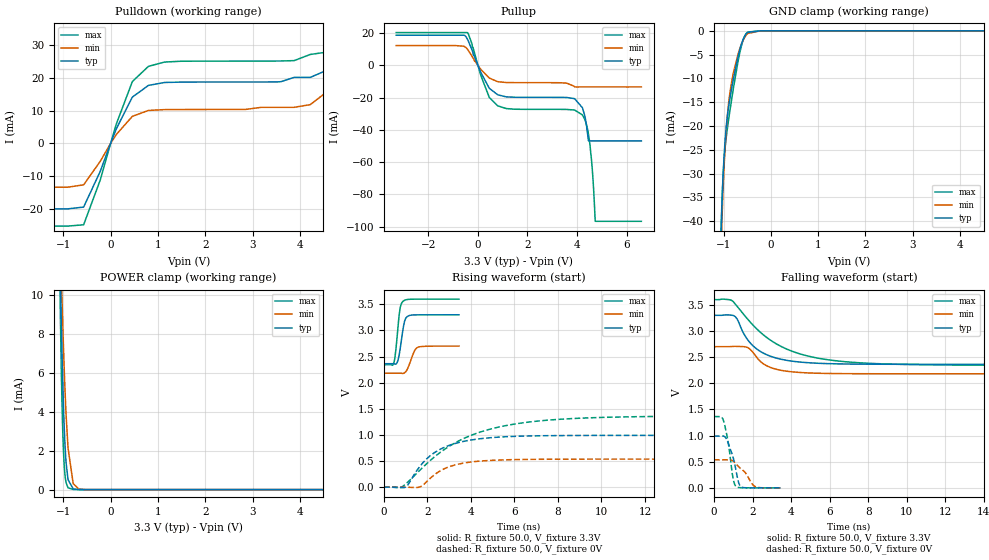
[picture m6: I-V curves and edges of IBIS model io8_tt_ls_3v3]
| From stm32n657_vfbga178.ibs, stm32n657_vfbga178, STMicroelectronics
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[Model]   io8_tt_ls_3v3
Model_type I/O
Polarity   Non-Inverting
Enable   Active-Low
| CAP_THRESHOLD on pad IOTT is "UDTCAPC" :
| Rising=30.0% of vddiov33m   Falling=70.0% of vddiov33m
| C_comp min and max val. don't necessarily correlate with the min and max pvt
| but are the smallest and greatest pad capacitance found.
| var   typ   min   max
C_comp   1.01863pF  1.01060pF  1.02128pF
|C_comp_pullup   495.66500fF  479.36000fF  510.70500fF
|C_comp_pulldown   522.96000fF  531.23929fF  510.57500fF
Vinl = 1.35V
Vinh = 1.8V
Vmeas = 1.65V   | Reference voltage for timing measurements
Cref  = 50.0pF   | Timing specification test load capacitance value
Rref  = 1.0MOhm   | Timing specification test load resistance value
Vref  = 1.815V   | Timing specification test load voltage
[Model Spec]
| TIME_THRESHOLD on pin ZIV08M is "CMOS" :
| Rising=50.0% of vddv08m   Falling=50.0% of vddv08m
Vinl 1.08570V 868.70000mV 1.21270V
Vinh 1.55630V 1.26230V 1.70930V
| variable   typ   min   max
[Temperature Range] 25.0 125.0 -40.0
| variable   typ   min   max
[Voltage Range] 3.3V 2.7V 3.6V
| variable   typ   min   max
[POWER Clamp Reference] 3.3V 2.7V 3.6V
| variable   typ   min   max
[GND Clamp Reference] 0V 0V 0V
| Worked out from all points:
|   slope of the pulldown table from 0 to 0.495 V, typ, clamps not added: 34.1 ohm
|   slope of the pullup table from 0 to 0.495 V, typ, clamps not added: 33.8 ohm
|   GND clamp passes 1 mA (typ) near -0.55 V on its own axis
|   POWER clamp passes 1 mA (typ) near -0.92 V on its own axis
|   rising waveform, R_fixture 50.0, V_fixture 3.3V: 20-80 % time 208ps typ, 287ps min, 179ps max; typ from 2.36 V to 3.3 V
|   falling waveform, R_fixture 50.0, V_fixture 3.3V: 20-80 % time 1.37ns typ, 1.06ns min, 2.71ns max; typ from 3.3 V to 2.36 V
|   rising waveform, R_fixture 50.0, V_fixture 0V: 20-80 % time 1.63ns typ, 1.34ns min, 3.19ns max; typ from 0 V to 0.99 V
|   falling waveform, R_fixture 50.0, V_fixture 0V: 20-80 % time 418ps typ, 701ps min, 329ps max; typ from 0.991 V to 0 V
[POWER Clamp]
-3.3V     1.353A     318.4mA    2.015A
-1.07V    12.07mA    13.62mA    10.38mA
-1.06V    10.79mA    12.68mA    8.745mA
-1.05V    9.571mA    11.76mA    7.253mA
-1.03V    7.341mA    9.999mA    4.748mA
-1V       4.588mA    7.595mA    2.215mA
-980mV    3.183mA    6.171mA    1.238mA
-950mV    1.704mA    4.337mA    481.8uA
-900mV    515.5uA    2.141mA    93.34uA
-790mV    29.45uA    301.7uA    4.884uA
-670mV    1.871uA    28.97uA    2.19uA
6.6V      0A         0A         0A
[GND Clamp]
-3.3V     -3.772A    -3.743A    -3.788A
-1.05V    -42.34mA   -45.44mA   -41.2mA
-1.04V    -38.9mA    -42mA      -37.88mA
-1.03V    -35.84mA   -38.88mA   -35.06mA
-1V       -28.57mA   -31.07mA   -28.88mA
-970mV    -23.48mA   -25.09mA   -24.97mA
-920mV    -18.07mA   -17.99mA   -20.63mA
-860mV    -13.91mA   -12.68mA   -16.46mA
-780mV    -9.536mA   -8.318mA   -11.38mA
-650mV    -3.744mA   -3.567mA   -4.327mA
-490mV    -324.2uA   -555.2uA   -259.7uA
6.6V      214nA      4.276uA    223.3nA
| variable   typ   min   max
[Pullup Reference] 3.3V 2.7V 3.6V
| variable   typ   min   max
[Pulldown Reference] 0V 0V 0V
[Pullup]
-3.3V     18.7mA     12.27mA    20.34mA
-430mV    16.42mA    10.12mA    20.31mA
460mV     -14.22mA   -7.865mA   -19.9mA
800mV     -18.26mA   -10.12mA   -25.1mA
3.88V     -20.57mA   -12.91mA   -27.66mA
4.22V     -26.27mA   -13.36mA   -30.72mA
4.35V     -33.99mA   -13.36mA   -34.99mA
4.46V     -46.57mA   -13.36mA   -42.29mA
4.52V     -46.82mA   -13.36mA   -48.77mA
4.63V     -46.82mA   -13.36mA   -66.94mA
4.74V     -46.82mA   -13.36mA   -96.67mA
6.6V      -46.82mA   -13.36mA   -96.67mA
[Pulldown]
-3.3V     -19.95mA   -13.34mA   -25.2mA
-570mV    -19.4mA    -12.62mA   -24.8mA
-220mV    -8.542mA   -5.471mA   -11.2mA
120mV     4.438mA    2.727mA    5.906mA
460mV     14.14mA    8.269mA    18.88mA
800mV     17.71mA    10.08mA    23.52mA
3.88V     20.15mA    11.02mA    25.27mA
4.22V     20.15mA    11.84mA    27.14mA
4.56V     22.27mA    15.62mA    27.84mA
4.9V      31.19mA    28.06mA    34.85mA
5.25V     61.06mA    66.66mA    59.35mA
6.6V      396.6mA    415.2mA    364.3mA
[Ramp]
dV/dt_r 594.29853mV/1.62814ns 321.45416mV/1.33802ns 817.90922mV/3.18552ns
dV/dt_f 562.25346mV/1.36611ns 311.02027mV/1.0574ns 753.5197mV/2.71333ns
R_load = 50.0
| Removed startup time: 0s 0s 0s  .
| Removed end time: 3.45ns.
[Rising Waveform]
R_fixture   = 50.0
V_fixture   = 3.3V
V_fixture_min = 2.7V
V_fixture_max = 3.6V
0s        2.363V     2.182V     2.344V
450ps     2.363V     2.182V     2.364V
500ps     2.36V      2.182V     2.466V
600ps     2.377V     2.182V     2.853V
750ps     2.66V      2.181V     3.444V
900ps     3.083V     2.177V     3.566V
1.05ns    3.259V     2.239V     3.591V
1.4ns     3.298V     2.605V     3.599V
1.55ns    3.299V     2.675V     3.599V
3.45ns    3.3V       2.7V       3.6V
| Removed startup time: 0s 0s 0s  .
| Removed end time: 24.9ns.
[Falling Waveform]
R_fixture   = 50.0
V_fixture   = 3.3V
V_fixture_min = 2.7V
V_fixture_max = 3.6V
0s        3.3V       2.7V       3.6V
800ps     3.306V     2.701V     3.598V
1.1ns     3.275V     2.706V     3.515V
1.8ns     2.806V     2.671V     3.203V
2.4ns     2.61V      2.419V     2.977V
2.8ns     2.535V     2.323V     2.858V
4.2ns     2.416V     2.214V     2.593V
5.9ns     2.376V     2.188V     2.45V
10.4ns    2.363V     2.182V     2.357V
24.9ns    2.363V     2.182V     2.344V
| Removed startup time: 0s 0s 0s  .
| Removed end time: 24.9ns.
[Rising Waveform]
R_fixture   = 50.0
V_fixture   = 0V
V_fixture_min = 0V
V_fixture_max = 0V
0s        541.8nV    3.002uV    641.8nV
700ps     -6.768mV   -142.6uV   -14.51mV
1ns       -1.762mV   -2.048mV   60.21mV
1.6ns     367.7mV    -3.319mV   301.8mV
2ns       555mV      118.4mV    461.5mV
3ns       798.7mV    389.9mV    780.7mV
4.5ns     929.8mV    500.6mV    1.064V
6.4ns     976.5mV    529.5mV    1.232V
11.1ns    990.2mV    535.7mV    1.345V
24.9ns    990.5mV    535.8mV    1.363V
| Removed startup time: 0s 0s 0s  .
| Removed end time: 3.45ns.
[Falling Waveform]
R_fixture   = 50.0
V_fixture   = 0V
V_fixture_min = 0V
V_fixture_max = 0V
0s        990.5mV    535.8mV    1.363V
350ps     990.5mV    535.8mV    1.362V
500ps     988.9mV    535.8mV    1.273V
750ps     839.3mV    535.9mV    833.6mV
1ns       569.5mV    511.3mV    153.9mV
1.15ns    310.9mV    454.3mV    24.45mV
1.3ns     72.26mV    395.5mV    5.699mV
1.45ns    9.919mV    346.5mV    2.491mV
2.15ns    553uV      22.66mV    720uV
3.45ns    149.6uV    134.8uV    245.6uV
